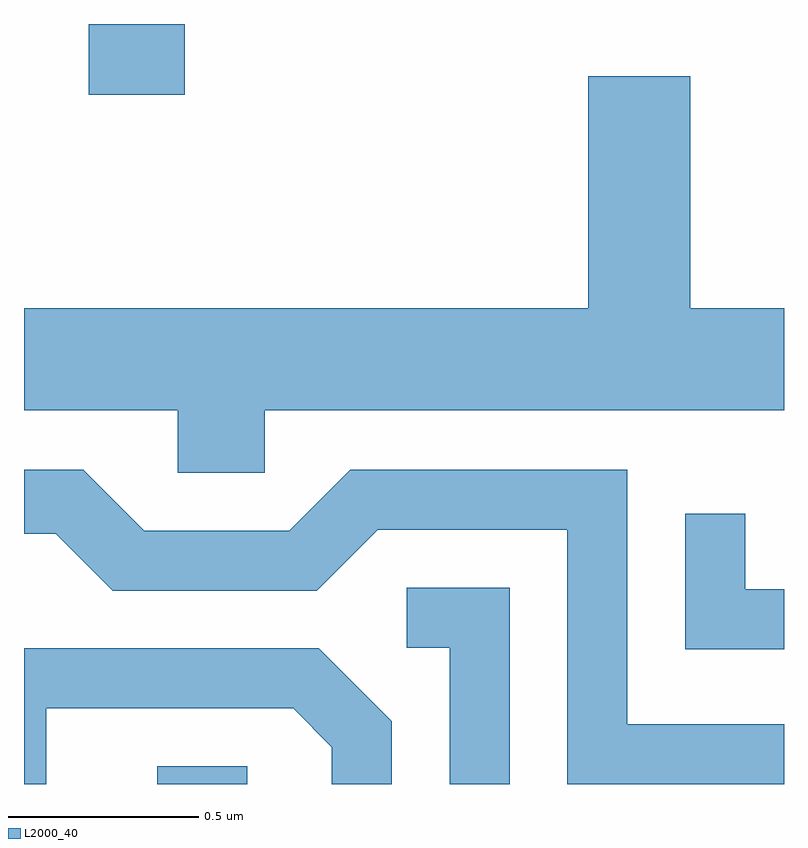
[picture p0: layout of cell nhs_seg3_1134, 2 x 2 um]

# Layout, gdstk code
import gdstk
lib = gdstk.Library(unit=1e-6, precision=1e-09)
def R(c, l, rs):  # rectangles x0, y0, x1, y1
    for r in rs: c.add(gdstk.rectangle(r[:2], r[2:], *l))
def P(c, l, *ps):  # polygons
    for p in ps: c.add(gdstk.Polygon(p, *l))
L2000_40 = (2000, 40)

nhs_seg3_1134 = lib.new_cell('nhs_seg3_1134')
R(nhs_seg3_1134, L2000_40, [(193.961,1153.892,194.199,1153.939), (193.781,1155.706,194.034,1155.892)])
P(nhs_seg3_1134, L2000_40, [(194.244,1154.876),(195.611,1154.876),(195.611,1155.144),(195.364,1155.144),(195.364,1155.754),(195.096,1155.754),(195.096,1155.144),(193.611,1155.144),(193.611,1154.876),(194.016,1154.876),(194.016,1154.711),(194.244,1154.711)],
  [(195.611,1154.049),(195.199,1154.049),(195.199,1154.719),(194.469,1154.719),(194.309,1154.559),(193.927,1154.559),(193.767,1154.719),(193.611,1154.719),(193.611,1154.551),(193.694,1154.551),(193.844,1154.401),(194.382,1154.401),(194.542,1154.561),(195.041,1154.561),(195.041,1153.892),(195.611,1153.892)],
  [(195.611,1154.404),(195.509,1154.404),(195.509,1154.603),(195.351,1154.603),(195.351,1154.246),(195.611,1154.246)],
  [(194.889,1154.409),(194.618,1154.409),(194.618,1154.251),(194.731,1154.251),(194.731,1153.892),(194.889,1153.892)],
  [(193.669,1154.091),(194.319,1154.091),(194.421,1153.989),(194.421,1153.892),(194.579,1153.892),(194.579,1154.057),(194.387,1154.249),(193.611,1154.249),(193.611,1153.892),(193.669,1153.892)])

lib.write_gds('nhs_seg3_1134.gds')
